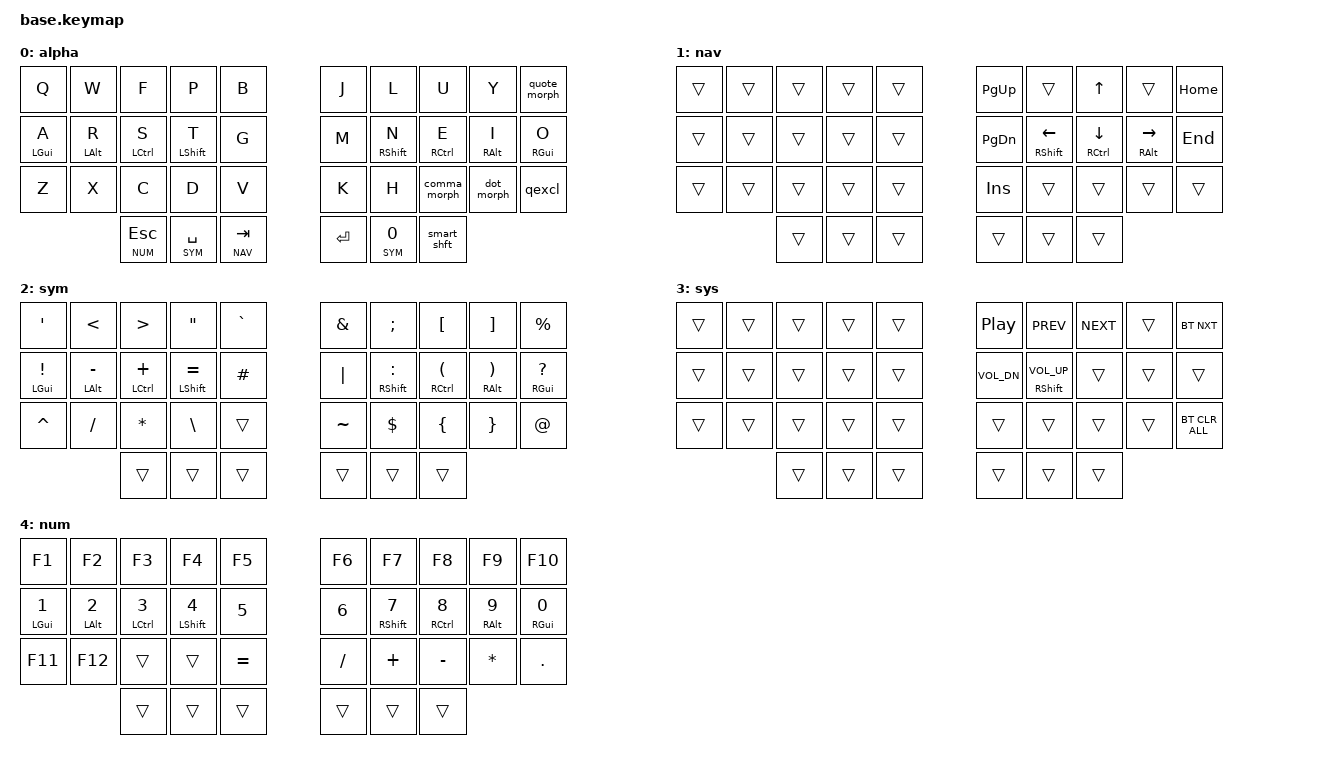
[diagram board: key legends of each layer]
#include <behaviors.dtsi>
#include <dt-bindings/zmk/bt.h>
#include <dt-bindings/zmk/keys.h>

#include "zmk-helpers/helper.h"

#define DEF 0
#define NAV 1
#define SYM 2
#define SYS 3
#define NUM 4

#define XXX &none
#define ___ &trans

/* Global settings */

#define QUICK_TAP_MS 175

&sk {  // sticky-key config
    release-after-ms = <900>;  // release after 0.6s
    quick-release;             // no double capitalization when rolling keys
};

&sl {  // sticky-layer config
    ignore-modifiers;          // allow chording sticky mods & layers
};

&lt {  // layer-tap config
    flavor = "balanced";
    tapping-term-ms = <200>;
    quick-tap-ms = <QUICK_TAP_MS>;
};

/* Homerow mods */

#define KEYS_L LT0 LT1 LT2 LT3 LT4 LM0 LM1 LM2 LM3 LM4 LB0 LB1 LB2 LB3 LB4  // left hand
#define KEYS_R RT0 RT1 RT2 RT3 RT4 RM0 RM1 RM2 RM3 RM4 RB0 RB1 RB2 RB3 RB4  // right hand
#define THUMBS LH2 LH1 LH0 RH0 RH1 RH2                                      // thumbs

#define MAKE_HRM(NAME, HOLD, TAP, TRIGGER_POS) \
    ZMK_BEHAVIOR(NAME, hold_tap, \
        flavor = "balanced"; \
        tapping-term-ms = <280>; \
        quick-tap-ms = <QUICK_TAP_MS>; \
        require-prior-idle-ms = <150>; \
        bindings = <HOLD>, <TAP>; \
        hold-trigger-key-positions = <TRIGGER_POS>; \
        hold-trigger-on-release; \
    )
MAKE_HRM(hml, &kp, &kp, KEYS_R THUMBS)  // left-hand HRMs
MAKE_HRM(hmr, &kp, &kp, KEYS_L THUMBS)  // right-hand HRMs

//MAKE_HRM(hml_repeat, &kp, &key_repeat, KEYS_R THUMBS)  // used for HRM-combo

/* Nav cluster */

// long-tap action on hold, short-tap action on all interrupts
#define MT_CORE \
    flavor = "tap-preferred"; \
    tapping-term-ms = <220>; \
    quick-tap-ms = <220>; \
    hold-trigger-key-positions = <0>;

&mt { MT_CORE };
ZMK_BEHAVIOR(mt_home, hold_tap, bindings = <&masked_home>, <&kp>; MT_CORE)
ZMK_BEHAVIOR(mt_end,  hold_tap,  bindings = <&masked_end>, <&kp>; MT_CORE)

#define NAV_LEFT  &mt_home 0   LEFT    // tap: left  | long-tap: beginning of line
#define NAV_RIGHT &mt_end 0    RIGHT   // tap: right | long-tap: end       of line
#define NAV_UP    &mt LC(HOME) UP      // tap: up    | long-tap: beginning of document
#define NAV_DOWN  &mt LC(END)  DOWN    // tap: down  | long-tap: end       of document
#define NAV_BSPC  &mt LC(BSPC) BSPC    // tap: bspc  | long-tap: delete word backward
#define NAV_DEL   &mt LC(DEL)  DEL     // tap: del   | long-tap: delete word forward

// mask CTRL when holding left/right to avoid accidental jumps to beginning/end of document
#define MASK_MODS(NAME, MODS, BINDING) \
    ZMK_BEHAVIOR(NAME, mod_morph, \
        bindings = <BINDING>, <BINDING>; \
        mods = <MODS>; \
    )
MASK_MODS(masked_home, (MOD_LCTL), &kp HOME)
MASK_MODS(masked_end,  (MOD_LCTL), &kp END)

/* Caps-word, num-word and smart-mouse */

// tap: sticky-shift | shift + tap/ double-tap: caps-word | hold: shift
ZMK_BEHAVIOR(smart_shft, mod_morph,
    bindings = <&sk LSHFT>, <&caps_word>;
    mods = <(MOD_LSFT)>;
)
&caps_word {  // mods deactivate caps-word, requires PR #1451
    /delete-property/ ignore-modifiers;
};

/* Custom behaviors */
// reuse basic mod-morph scheme
#define SIMPLE_MORPH(NAME, MOD, BINDING1, BINDING2) \
    ZMK_BEHAVIOR(NAME, mod_morph, \
        mods = <(MOD_L ## MOD|MOD_R ## MOD)>; \
        bindings = <BINDING1>, <BINDING2>; \
    )

// tap: comma | shift + tap: semicolon | ctrl + shift + tap: <
SIMPLE_MORPH(comma_morph, SFT, &kp COMMA, &comma_inner_morph)
SIMPLE_MORPH(comma_inner_morph, CTL, &kp SEMICOLON, &kp LESS_THAN)

// tap: dot | shift + tap: colon | ctrl + shift + tap: >
SIMPLE_MORPH(dot_morph, SFT, &kp DOT, &dot_inner_morph)
SIMPLE_MORPH(dot_inner_morph, CTL, &kp COLON, &kp GREATER_THAN)

// tap: / | shift + tap: ? | ctrl + shift + tap: !
SIMPLE_MORPH(qexcl, SFT, &kp FSLH, &qmark_excl)
SIMPLE_MORPH(qmark_excl, CTL, &kp QMARK, &kp EXCL)

// tap: '' | shift + tap: "" | ctrl + shift + tap: ``
ZMK_BEHAVIOR(quote_morph, mod_morph,
    bindings = <&kp SQT>, <&q_q>;
    mods = <(MOD_LSFT|MOD_RSFT)>;
    keep-mods = <(MOD_RSFT)>;
)

//SIMPLE_MORPH(quote_morph, SFT, &kp SQT, &q_q)
SIMPLE_MORPH(q_q, CTL, &kp DQT, &kp GRAVE)

// tap: space | shift + tap: dot -> space -> sticky shift | hold: activate layer
ZMK_BEHAVIOR(lt_spc, hold_tap,
    flavor = "balanced";
    tapping-term-ms = <200>;
    quick-tap-ms = <QUICK_TAP_MS>;
    bindings = <&mo>, <&spc_morph>;
)
SIMPLE_MORPH(spc_morph, SFT, &kp SPACE, &dot_spc)
ZMK_BEHAVIOR(dot_spc, macro,
    wait-ms = <0>;
    tap-ms = <5>;
    bindings = <&kp DOT &kp SPACE &sk LSHFT>;
)

// tap: backspace | lshft + tap: delete | rshft + tap: shift-delete !! DISABLED
ZMK_BEHAVIOR(bs_del, mod_morph,
    bindings = <&kp BSPC>, <&kp DEL>;
    mods = <(MOD_LSFT|MOD_RSFT)>;
    //keep-mods = <MOD_RSFT>;
)

// tap: copy | double-tap: cut
ZMK_BEHAVIOR(copy_cut, tap_dance,
    tapping-term-ms = <200>;
    bindings = <&kp LC(INS)>, <&kp LC(X)>;
)

ZMK_HOLD_TAP(lt_bs_del, bindings = <&mo>, <&bs_del>; flavor = "balanced"; 
            tapping-term-ms = <200>; quick-tap-ms = <QUICK_TAP_MS>;
)

// COMBOS
/*                KEY POSITIONS

  ╭─────────────────────╮ ╭─────────────────────╮
  │ LT4 LT3 LT2 LT1 LT0 │ │ RT0 RT1 RT2 RT3 RT4 │
  │ LM4 LM3 LM2 LM1 LM0 │ │ RM0 RM1 RM2 RM3 RM4 │
  │ LB4 LB3 LB2 LB1 LB0 │ │ RB0 RB1 RB2 RB3 RB4 │
  ╰───────╮ LH2 LH1 LH0 │ │ RH0 RH1 RH2 ╭───────╯
          ╰─────────────╯ ╰─────────────╯ */

#define COMBO_TERM_FAST 18
#define COMBO_TERM_SLOW 30

#define COMBO_IDLE_FAST 150
#define COMBO_IDLE_SLOW 50

ZMK_BEHAVIOR(minundmorph, mod_morph,
    mods = <(MOD_LSFT|MOD_RSFT)>;
    bindings = <&kp MINUS>, <&kp UNDER>;
)
ZMK_COMBO(grave, &kp GRAVE,     RT3 RT4,     DEF NAV SYM SYS, COMBO_TERM_SLOW, COMBO_IDLE_SLOW)
ZMK_COMBO(minund, &minundmorph, RB3 RB4,     DEF NAV SYM SYS, COMBO_TERM_SLOW, COMBO_IDLE_SLOW)

/* Keymap */
ZMK_CONDITIONAL_LAYER(sys, NAV SYM, SYS)

ZMK_LAYER(alpha,
//╭─────────────┬─────────────┬─────────────┬─────────────┬─────────────╮ ╭─────────────┬─────────────┬─────────────┬─────────────┬─────────────╮
    &kp Q         &kp W         &kp F         &kp P         &kp B           &kp J         &kp L         &kp U         &kp Y         &quote_morph
//├─────────────┼─────────────┼─────────────┼─────────────┼─────────────┤ ├─────────────┼─────────────┼─────────────┼─────────────┼─────────────┤
    &hml LGUI A   &hml LALT R  &hml LCTRL S  &hml LSHFT T   &kp G           &kp M         &hmr RSHFT N  &hmr RCTRL E  &hmr RALT I   &hmr RGUI O
//├─────────────┼─────────────┼─────────────┼─────────────┼─────────────┤ ├─────────────┼─────────────┼─────────────┼─────────────┼─────────────┤
    &kp Z         &kp X         &kp C         &kp D         &kp V           &kp K         &kp H         &comma_morph  &dot_morph    &qexcl
//╰─────────────┼─────────────┴─────────────┼─────────────┼─────────────┤ ├─────────────┼─────────────┼─────────────┴───────────────────────────╯
                                &lt NUM ESC   &lt SYM SPACE &lt NAV TAB     &kp RET    &lt_bs_del SYM 0  &smart_shft
//                            ╰─────────────┴─────────────┴─────────────╯ ╰─────────────┴─────────────┴─────────────╯
)

ZMK_LAYER(nav,
//╭─────────────┬─────────────┬─────────────┬─────────────┬─────────────╮ ╭─────────────┬─────────────┬─────────────┬─────────────┬─────────────╮
    ___           ___           ___           ___           ___            &kp PG_UP      ___           &kp UP        ___           &kp HOME
//├─────────────┼─────────────┼─────────────┼─────────────┼─────────────┤ ├─────────────┼─────────────┼─────────────┼─────────────┼─────────────┤
    ___           ___           ___           ___           ___            &kp PG_DN &hmr RSHFT LEFT &hmr RCTRL DOWN &hmr RALT RIGHT &kp END
//├─────────────┼─────────────┼─────────────┼─────────────┼─────────────┤ ├─────────────┼─────────────┼─────────────┼─────────────┼─────────────┤
    ___           ___           ___           ___           ___            &kp INSERT     ___           ___           ___           ___
//╰─────────────┼─────────────┴─────────────┼─────────────┼─────────────┤ ├─────────────┼─────────────┼─────────────┴───────────────────────────╯
                                ___           ___           ___             ___           ___           ___
//                            ╰─────────────┴─────────────┴─────────────╯ ╰─────────────┴─────────────┴─────────────╯
)

ZMK_LAYER(sym,
// ╭─────────────┬─────────────┬─────────────┬─────────────┬─────────────╮   ╭─────────────┬─────────────┬─────────────┬─────────────┬─────────────╮
     &kp SQT       &kp LT        &kp GT        &kp DQT       &kp GRAVE         &kp AMPS      &kp SEMI      &kp LBKT      &kp RBKT      &kp PRCNT
// ├─────────────┼─────────────┼─────────────┼─────────────┼─────────────┤   ├─────────────┼─────────────┼─────────────┼─────────────┼─────────────┤
   &hml LGUI EXCL &hml LALT MINUS &hml LCTRL PLUS &hml LSHFT EQUAL &kp HASH  &kp PIPE &hmr RSHFT COLON &hmr RCTRL LPAR &hmr RALT RPAR &hmr RGUI QMARK
// ├─────────────┼─────────────┼─────────────┼─────────────┼─────────────┤   ├─────────────┼─────────────┼─────────────┼─────────────┼─────────────┤
     &kp CARET     &kp FSLH      &kp STAR      &kp BSLH      ___               &kp TILDE     &kp DLLR      &kp LBRC      &kp RBRC      &kp AT
// ╰─────────────┼─────────────┼─────────────┼─────────────┼─────────────┤   ├─────────────┼─────────────┼─────────────┼─────────────┼─────────────╯
                                 ___           ___           ___               ___           ___           ___
//                             ╰─────────────┴─────────────┴─────────────╯   ╰─────────────┴─────────────┴─────────────╯
)

ZMK_LAYER(sys,
// ╭─────────────┬─────────────┬─────────────┬─────────────┬─────────────╮   ╭─────────────┬─────────────┬─────────────┬─────────────┬─────────────╮
      ___           ___           ___           ___           ___               &kp C_PP      &kp C_PREV   &kp C_NEXT     ___          &bt BT_NXT
// ├─────────────┼─────────────┼─────────────┼─────────────┼─────────────┤   ├─────────────┼─────────────┼─────────────┼─────────────┼─────────────┤
      ___           ___           ___           ___           ___            &kp C_VOL_DN   &hmr RSHFT C_VOL_UP ___       ___           ___
// ├─────────────┼─────────────┼─────────────┼─────────────┼─────────────┤   ├─────────────┼─────────────┼─────────────┼─────────────┼─────────────┤
      ___           ___           ___           ___           ___               ___           ___           ___           ___           &bt BT_CLR_ALL
// ╰─────────────┼─────────────┼─────────────┼─────────────┼─────────────┤   ├─────────────┼─────────────┼─────────────┼─────────────┼─────────────╯
                                  ___           ___           ___               ___           ___           ___
//                             ╰─────────────┴─────────────┴─────────────╯   ╰─────────────┴─────────────┴─────────────╯
)

ZMK_LAYER(num,
// ╭─────────────┬─────────────┬─────────────┬─────────────┬─────────────╮   ╭─────────────┬─────────────┬─────────────┬─────────────┬─────────────╮
     &kp F1       &kp F2         &kp F3       &kp F4        &kp F5             &kp F6       &kp F7         &kp F8       &kp F9        &kp F10
// ├─────────────┼─────────────┼─────────────┼─────────────┼─────────────┤   ├─────────────┼─────────────┼─────────────┼─────────────┼─────────────┤
     &hml LGUI N1 &hml LALT N2  &hml LCTRL N3 &hml LSHFT N4 &kp N5             &kp N6       &hmr RSHFT N7 &hmr RCTRL N8 &hmr RALT N9  &hmr RGUI N0
// ├─────────────┼─────────────┼─────────────┼─────────────┼─────────────┤   ├─────────────┼─────────────┼─────────────┼─────────────┼─────────────┤
     &kp F11       &kp F12       ___           ___          &kp EQUAL          &kp FSLH      &kp PLUS      &kp MINUS     &kp STAR      &kp DOT           
// ╰─────────────┼─────────────┼─────────────┼─────────────┼─────────────┤   ├─────────────┼─────────────┼─────────────┼─────────────┼─────────────╯
                                 ___           ___           ___               ___           ___           ___
//                             ╰─────────────┴─────────────┴─────────────╯   ╰─────────────┴─────────────┴─────────────╯
)

/* vim: set ft=c tw=174: */
